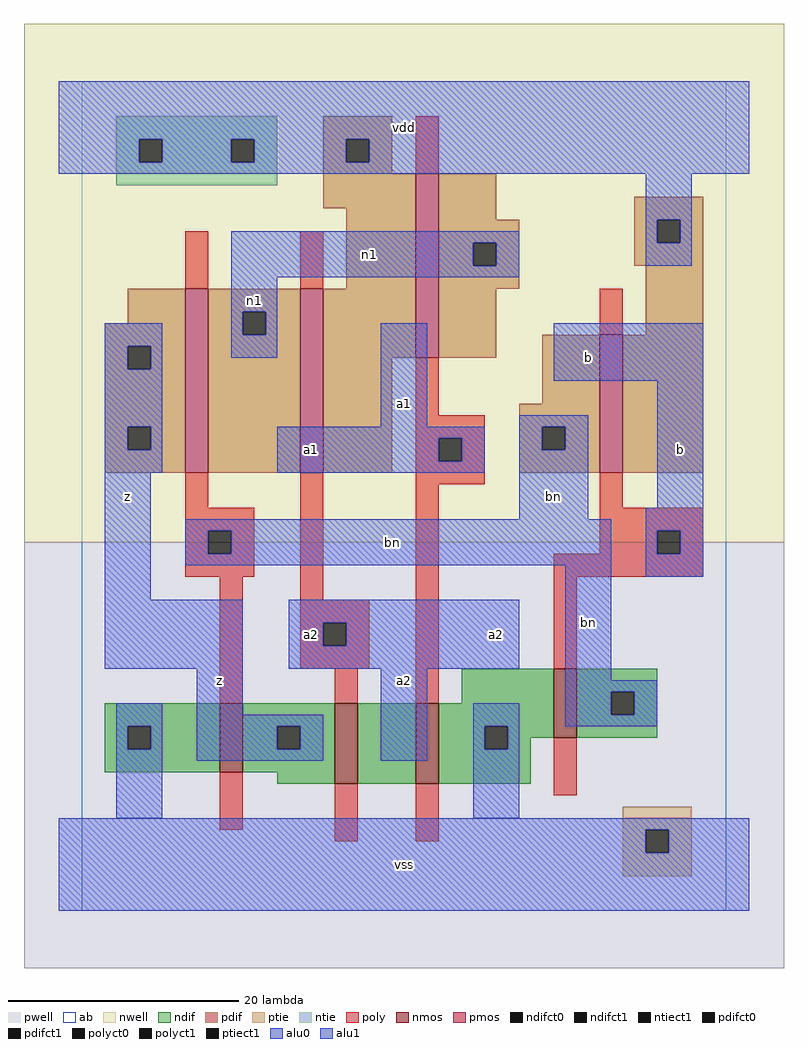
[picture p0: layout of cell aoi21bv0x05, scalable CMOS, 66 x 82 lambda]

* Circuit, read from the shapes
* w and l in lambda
.subckt aoi21bv0x05 a1 a2 b bn n1 vdd vss z
M1 z bn vss vss nfet w=6 l=2
M2 n2 a2 z vss nfet w=7 l=2
M3 vss a1 n2 vss nfet w=7 l=2
M4 bn b vss vss nfet w=6 l=2
M5 n1 bn z vdd pfet w=16 l=2
M6 vdd a2 n1 vdd pfet w=16 l=2
M7 n1 a1 vdd vdd pfet w=16 l=2
M8 vdd b bn vdd pfet w=12 l=2
.ends

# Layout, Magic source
magic
tech scmos
<< ab >>
rect 0 0 56 72
<< nwell >>
rect -5 32 61 77
<< pwell >>
rect -5 -5 61 32
<< poly >>
rect 29 64 31 69
rect 9 54 11 59
rect 19 54 21 59
rect 45 50 47 54
rect 29 43 31 48
rect 29 41 35 43
rect 29 39 31 41
rect 33 39 35 41
rect 9 35 11 38
rect 9 33 15 35
rect 9 31 11 33
rect 13 31 15 33
rect 9 29 15 31
rect 12 18 14 29
rect 19 27 21 38
rect 29 37 35 39
rect 19 25 25 27
rect 19 23 21 25
rect 23 23 25 25
rect 19 21 25 23
rect 22 18 24 21
rect 29 18 31 37
rect 45 35 47 38
rect 45 33 54 35
rect 45 31 50 33
rect 52 31 54 33
rect 41 29 54 31
rect 41 21 43 29
rect 12 7 14 12
rect 22 6 24 11
rect 29 6 31 11
rect 41 10 43 15
<< ndif >>
rect 33 18 41 21
rect 2 16 12 18
rect 2 14 4 16
rect 6 14 12 16
rect 2 12 12 14
rect 14 16 22 18
rect 14 14 17 16
rect 19 14 22 16
rect 14 12 22 14
rect 17 11 22 12
rect 24 11 29 18
rect 31 16 41 18
rect 31 14 35 16
rect 37 15 41 16
rect 43 19 50 21
rect 43 17 46 19
rect 48 17 50 19
rect 43 15 50 17
rect 37 14 39 15
rect 31 11 39 14
<< pdif >>
rect 21 67 27 69
rect 21 65 23 67
rect 25 65 27 67
rect 21 64 27 65
rect 21 61 29 64
rect 23 54 29 61
rect 4 51 9 54
rect 2 49 9 51
rect 2 47 4 49
rect 6 47 9 49
rect 2 42 9 47
rect 2 40 4 42
rect 6 40 9 42
rect 2 38 9 40
rect 11 52 19 54
rect 11 50 14 52
rect 16 50 19 52
rect 11 38 19 50
rect 21 48 29 54
rect 31 60 36 64
rect 48 60 54 62
rect 31 58 38 60
rect 31 56 34 58
rect 36 56 38 58
rect 48 58 50 60
rect 52 58 54 60
rect 48 56 54 58
rect 31 54 38 56
rect 31 48 36 54
rect 49 50 54 56
rect 21 38 27 48
rect 40 44 45 50
rect 38 42 45 44
rect 38 40 40 42
rect 42 40 45 42
rect 38 38 45 40
rect 47 38 54 50
<< alu1 >>
rect -2 67 58 72
rect -2 65 5 67
rect 7 65 13 67
rect 15 65 23 67
rect 25 65 58 67
rect -2 64 58 65
rect 49 60 53 64
rect 49 58 50 60
rect 52 58 53 60
rect 49 56 53 58
rect 2 49 7 51
rect 2 47 4 49
rect 6 47 7 49
rect 2 42 7 47
rect 26 42 30 51
rect 41 46 54 51
rect 2 40 4 42
rect 6 40 7 42
rect 2 38 7 40
rect 17 41 35 42
rect 17 39 31 41
rect 33 39 35 41
rect 17 38 35 39
rect 2 27 6 38
rect 50 35 54 46
rect 2 21 14 27
rect 18 25 38 27
rect 18 23 21 25
rect 23 23 38 25
rect 18 21 38 23
rect 10 17 14 21
rect 10 16 21 17
rect 10 14 17 16
rect 19 14 21 16
rect 10 13 21 14
rect 26 13 30 21
rect 49 33 54 35
rect 49 31 50 33
rect 52 31 54 33
rect 49 29 54 31
rect -2 7 58 8
rect -2 5 49 7
rect 51 5 58 7
rect -2 0 58 5
<< ptie >>
rect 47 7 53 9
rect 47 5 49 7
rect 51 5 53 7
rect 47 3 53 5
<< ntie >>
rect 3 67 17 69
rect 3 65 5 67
rect 7 65 13 67
rect 15 65 17 67
rect 3 63 17 65
<< nmos >>
rect 12 12 14 18
rect 22 11 24 18
rect 29 11 31 18
rect 41 15 43 21
<< pmos >>
rect 9 38 11 54
rect 19 38 21 54
rect 29 48 31 64
rect 45 38 47 50
<< polyct0 >>
rect 11 31 13 33
<< polyct1 >>
rect 31 39 33 41
rect 21 23 23 25
rect 50 31 52 33
<< ndifct0 >>
rect 4 14 6 16
rect 35 14 37 16
rect 46 17 48 19
<< ndifct1 >>
rect 17 14 19 16
<< ntiect1 >>
rect 5 65 7 67
rect 13 65 15 67
<< ptiect1 >>
rect 49 5 51 7
<< pdifct0 >>
rect 14 50 16 52
rect 34 56 36 58
rect 40 40 42 42
<< pdifct1 >>
rect 23 65 25 67
rect 4 47 6 49
rect 4 40 6 42
rect 50 58 52 60
<< alu0 >>
rect 13 58 38 59
rect 13 56 34 58
rect 36 56 38 58
rect 13 55 38 56
rect 13 52 17 55
rect 13 50 14 52
rect 16 50 17 52
rect 13 48 17 50
rect 38 42 44 43
rect 38 40 40 42
rect 42 40 44 42
rect 38 34 44 40
rect 9 33 46 34
rect 9 31 11 33
rect 13 31 46 33
rect 9 30 46 31
rect 3 16 7 18
rect 3 14 4 16
rect 6 14 7 16
rect 3 8 7 14
rect 42 20 46 30
rect 42 19 50 20
rect 34 16 38 18
rect 42 17 46 19
rect 48 17 50 19
rect 42 16 50 17
rect 34 14 35 16
rect 37 14 38 16
rect 34 8 38 14
<< labels >>
rlabel alu0 15 53 15 53 6 n1
rlabel alu0 44 25 44 25 6 bn
rlabel alu0 41 36 41 36 6 bn
rlabel alu0 27 32 27 32 6 bn
rlabel alu0 25 57 25 57 6 n1
rlabel alu1 4 36 4 36 6 z
rlabel alu1 12 20 12 20 6 z
rlabel alu1 20 24 20 24 6 a2
rlabel alu1 20 40 20 40 6 a1
rlabel alu1 28 4 28 4 6 vss
rlabel alu1 28 20 28 20 6 a2
rlabel alu1 36 24 36 24 6 a2
rlabel alu1 28 44 28 44 6 a1
rlabel alu1 28 68 28 68 6 vdd
rlabel alu1 52 40 52 40 6 b
rlabel alu1 44 48 44 48 6 b
<< end >>
